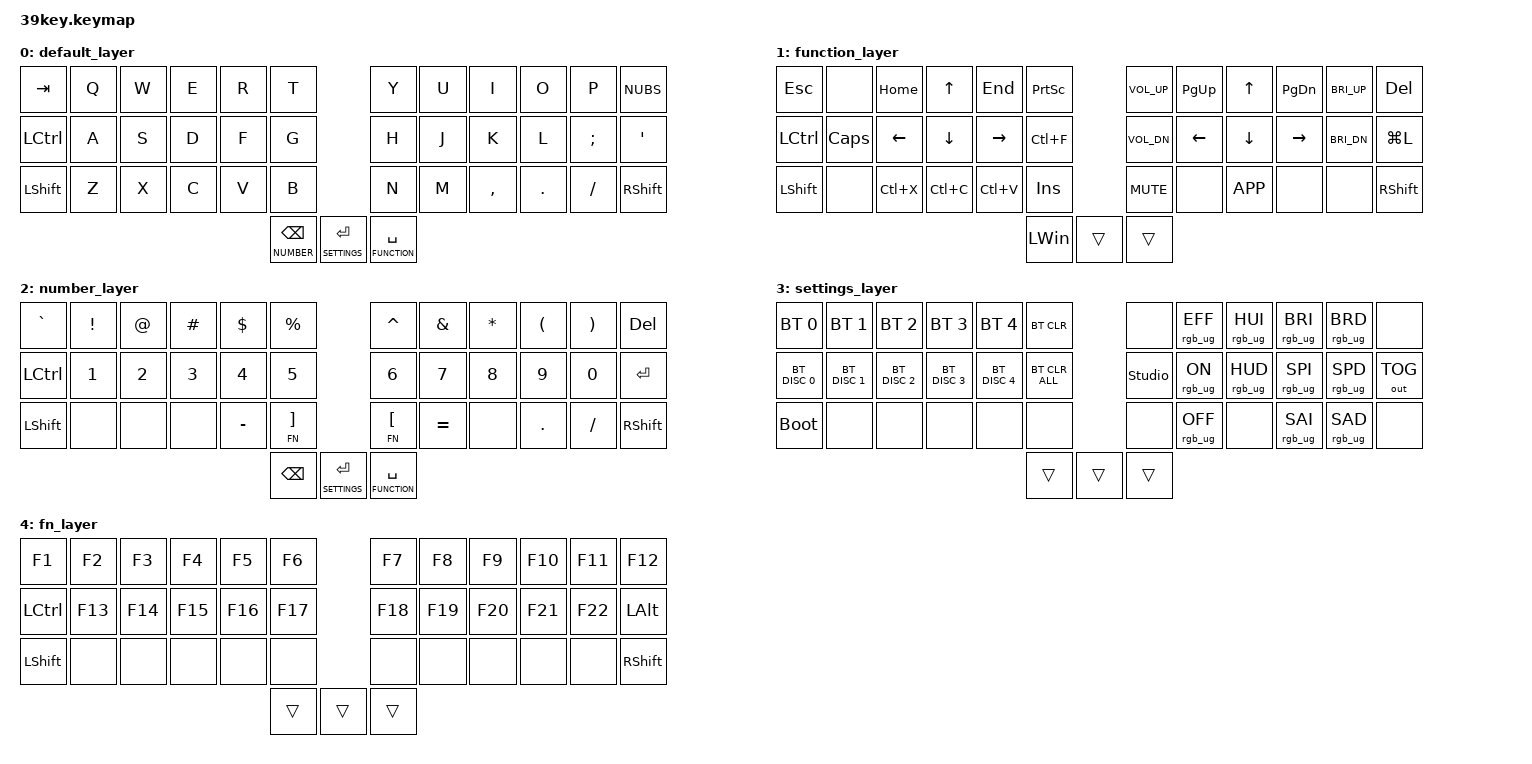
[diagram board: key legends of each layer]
/*
 * Copyright (c) 2022 The ZMK Contributors
 *
 * SPDX-License-Identifier: MIT
 */

#include <behaviors.dtsi>
#include <dt-bindings/zmk/keys.h>
#include <dt-bindings/zmk/outputs.h>
#include <dt-bindings/zmk/bt.h>
#include <dt-bindings/zmk/rgb.h>

#define DEFAULT 0
#define FUNCTION 1
#define NUMBER 2
#define SETTINGS 3
#define FN 4

/ {

keymap {
        compatible = "zmk,keymap";

        default_layer {
            bindings = <
                &kp TAB     &kp Q   &kp W   &kp E   &kp R   &kp T                               &kp Y   &kp U   &kp I       &kp O     &kp P      &kp NUBS
                &kp LCTRL   &kp A   &kp S   &kp D   &kp F   &kp G                               &kp H   &kp J   &kp K       &kp L     &kp SEMI   &kp SQT
                &kp LSHIFT  &kp Z   &kp X   &kp C   &kp V   &kp B                               &kp N   &kp M   &kp COMMA   &kp DOT   &kp FSLH   &kp RSHIFT
                                                            &lt NUMBER BSPC  &lt SETTINGS ENTER &lt FUNCTION SPACE               
            >;
         };
        function_layer {
            bindings = <
                &kp ESC      &none      &kp HOME    &kp UP      &kp END     &kp PSCRN         &kp C_VOL_UP   &kp PG_UP   &kp UP      &kp PG_DN    &kp C_BRI_UP   &kp DEL
                &kp LCTRL    &kp CAPS   &kp LEFT    &kp DOWN    &kp RIGHT   &kp LC(F)         &kp C_VOL_DN   &kp LEFT    &kp DOWN    &kp RIGHT    &kp C_BRI_DN   &kp LG(L)
                &kp LSHIFT   &none      &kp LC(X)   &kp LC(C)   &kp LC(V)   &kp INS           &kp C_MUTE     &none       &kp K_APP   &none        &none          &kp RSHIFT
                                                                            &kp LWIN  &trans  &trans
                
            >;
        };
        number_layer {
            bindings = <
                &kp GRAVE    &kp EXCL   &kp AT   &kp HASH   &kp DOLLAR   &kp PERCENT                  &kp CARET     &kp AMPS    &kp ASTERISK  &kp LPAR   &kp RPAR   &kp DEL
                &kp LCTRL    &kp N1     &kp N2   &kp N3     &kp N4       &kp N5                       &kp N6        &kp N7      &kp N8        &kp N9     &kp N0     &kp ENTER
                &kp LSHIFT   &none      &none    &none      &kp MINUS    &lt FN RBKT                  &lt FN LBKT   &kp EQUAL   &none         &kp DOT    &kp FSLH   &kp RSHIFT
                                                                         &kp BSPC  &lt SETTINGS ENTER &lt FUNCTION SPACE
            >;
         };
        settings_layer {
            bindings = <
                &bt BT_SEL 0   &bt BT_SEL 1   &bt BT_SEL 2   &bt BT_SEL 3   &bt BT_SEL 4  &bt BT_CLR      &none            &rgb_ug RGB_EFF &rgb_ug RGB_HUI   &rgb_ug RGB_BRI  &rgb_ug RGB_BRD  &none
                &bt BT_DISC 0  &bt BT_DISC 1  &bt BT_DISC 2  &bt BT_DISC 3  &bt BT_DISC 4 &bt BT_CLR_ALL  &studio_unlock   &rgb_ug RGB_ON  &rgb_ug RGB_HUD   &rgb_ug RGB_SPI  &rgb_ug RGB_SPD  &out OUT_TOG
                &bootloader    &none          &none          &none          &none         &none           &none            &rgb_ug RGB_OFF &none             &rgb_ug RGB_SAI  &rgb_ug RGB_SAD  &none
                                                                                          &trans  &trans  &trans
            >;
         };
        fn_layer {
            bindings = <
                &kp F1     &kp F2     &kp F3     &kp F4   &kp F5   &kp F6          &kp F7      &kp F8   &kp F9   &kp F10  &kp F11   &kp F12
                &kp LCTRL  &kp F13    &kp F14    &kp F15  &kp F16  &kp F17         &kp F18     &kp F19  &kp F20  &kp F21  &kp F22   &kp LALT
                &kp LSHIFT &none      &none      &none    &none    &none           &none       &none    &none    &none    &none     &kp RSHIFT
                                                                   &trans  &trans  &trans
            >;
         };
    };
};
